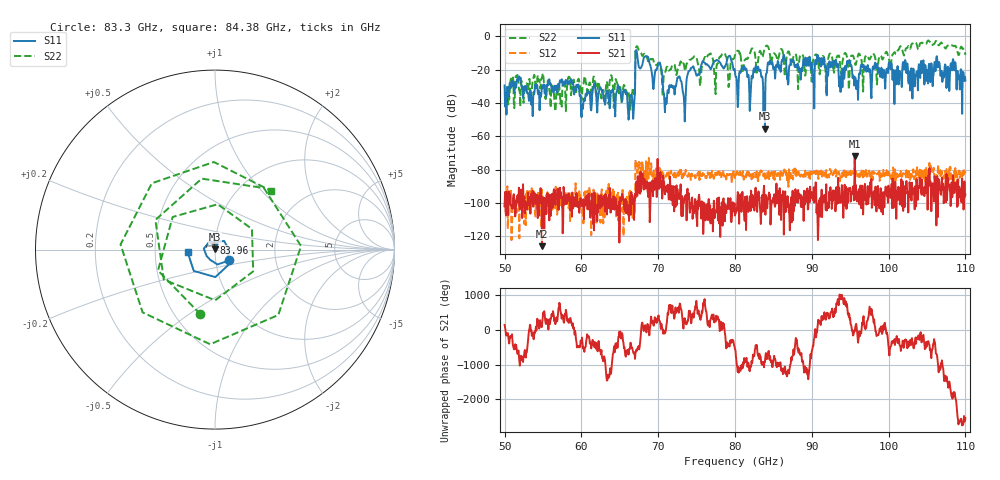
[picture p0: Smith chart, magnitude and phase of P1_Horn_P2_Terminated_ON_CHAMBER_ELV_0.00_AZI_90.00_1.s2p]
! 11/26/2026 10:50:33 AM
! C:\ANRITSUVNA\TEMP\TEMP.S2P
! CHANNEL.1
! TR.MEASUREMENT
! RAW.DATA
# HZ S RI R 50.0
! FREQ.HZ  S11RE  S11IM  S21RE  S21IM  S12RE  S12IM  S22RE  S22IM
!; PortSelection: Port_12
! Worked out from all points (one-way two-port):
!   1001 points, 50 GHz to 110 GHz, reference 50 ohm
!   highest |S21| = -71.83 dB at 95.6 GHz (marker M1); lowest = -126.0 dB at 54.86 GHz (marker M2)
!   lowest |S11| = -55.3 dB at 83.9 GHz (marker M3), VSWR 1.00, Z = 49.8 + j0.0709 ohm
!   |S11| at or under -10 dB: start of sweep to 67.04 GHz; 67.24 GHz to end of sweep
!   |S22| runs from -45.0 to -2.4 dB; largest |S21 - S12| = 0.00033
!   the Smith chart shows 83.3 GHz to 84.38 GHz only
!   S11 on the Smith chart (normalised r, x): 83.3 GHz: 1.16, -0.14; 83.96 GHz: 0.98, +0.08; 84.38 GHz: 0.74, -0.02
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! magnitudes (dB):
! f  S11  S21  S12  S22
! 50 GHz  -29.4  -102.0  -102.7  -33.8
! 54.86 GHz  -30.0  -126.0  -92.1  -24.9
! 56.66 GHz  -32.0  -95.7  -90.3  -42.3
! 58.64 GHz  -25.7  -102.6  -98.7  -35.3
! 60.02 GHz  -48.5  -100.4  -102.5  -38.2
! 66.44 GHz  -35.6  -107.2  -99.0  -39.5
! 67.34 GHz  -13.7  -84.0  -78.9  -6.6
! 70.04 GHz  -17.1  -82.2  -84.0  -15.9
! 71 GHz  -37.1  -93.2  -83.3  -20.2
! 72.74 GHz  -23.9  -97.7  -81.0  -18.1
! 73.4 GHz  -42.0  -96.7  -82.5  -18.0
! 75.92 GHz  -15.4  -111.3  -83.2  -14.2
! 80 GHz  -21.3  -107.6  -85.0  -11.3
! 83.3 GHz  -20.0  -105.5  -82.8  -8.6
! 83.9 GHz  -55.3  -97.5  -81.2  -7.2
! 83.96 GHz  -28.1  -107.1  -85.5  -6.4
! 84.38 GHz  -16.3  -95.6  -80.1  -6.9
! 90.02 GHz  -16.0  -93.6  -82.0  -26.8
! 94.88 GHz  -14.2  -91.7  -82.0  -27.8
! 95.6 GHz  -26.8  -71.8  -73.0  -15.3
! 100 GHz  -15.6  -94.3  -81.5  -13.3
! 110 GHz  -26.4  -95.0  -82.0  -11.0
